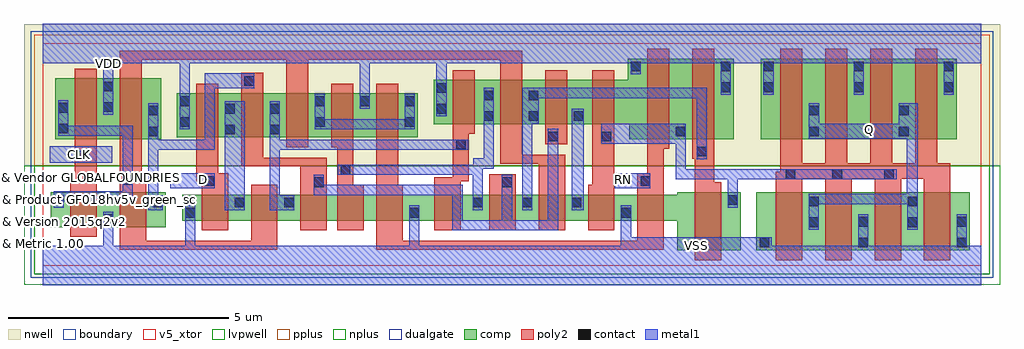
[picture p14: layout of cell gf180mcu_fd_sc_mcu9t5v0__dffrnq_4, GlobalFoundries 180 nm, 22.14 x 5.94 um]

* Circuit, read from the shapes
.subckt gf180mcu_fd_sc_mcu9t5v0__dffrnq_4 CLK D Q RN VDD VSS
XM1 VSS CLK n1 VSUBS nfet_05v0 w=0.79u l=0.6u
XM2 n2 n1 VSS VSUBS nfet_05v0 w=0.79u l=0.6u
XM3 n3 D VSS VSUBS nfet_05v0 w=0.59u l=0.6u
XM4 n4 n1 n3 VSUBS nfet_05v0 w=0.59u l=0.6u
XM5 n5 n2 n4 VSUBS nfet_05v0 w=0.59u l=0.6u
XM6 n6 n7 n5 VSUBS nfet_05v0 w=0.59u l=0.6u
XM7 VSS RN n6 VSUBS nfet_05v0 w=0.59u l=0.6u
XM8 n7 n4 VSS VSUBS nfet_05v0 w=0.59u l=0.6u
XM9 n8 n2 n7 VSUBS nfet_05v0 w=0.59u l=0.6u
XM10 n9 n1 n8 VSUBS nfet_05v0 w=0.59u l=0.6u
XM11 VSS n10 n9 VSUBS nfet_05v0 w=0.59u l=0.6u
XM12 n11 RN VSS VSUBS nfet_05v0 w=0.59u l=0.6u
XM13 n10 n8 n11 VSUBS nfet_05v0 w=1.32u l=0.6u
XM14 Q n10 VSS VSUBS nfet_05v0 w=1.32u l=0.6u m=4
XM15 VDD CLK n1 n12 pfet_05v0 w=1.38u l=0.5u
XM16 n2 n1 VDD n12 pfet_05v0 w=1.38u l=0.5u
XM17 n3 D VDD n12 pfet_05v0 w=1u l=0.5u
XM18 n4 n2 n3 n12 pfet_05v0 w=1u l=0.5u
XM19 n13 n1 n4 n12 pfet_05v0 w=1u l=0.5u
XM20 VDD n7 n13 n12 pfet_05v0 w=1u l=0.5u
XM21 n13 RN VDD n12 pfet_05v0 w=1u l=0.5u
XM22 n7 n4 VDD n12 pfet_05v0 w=1u l=0.5u
XM23 n8 n1 n7 n12 pfet_05v0 w=1u l=0.5u
XM24 n9 n2 n8 n12 pfet_05v0 w=1u l=0.5u
XM25 VDD n10 n9 n12 pfet_05v0 w=1u l=0.5u
XM26 n10 RN VDD n12 pfet_05v0 w=1.83u l=0.5u
XM27 VDD n8 n10 n12 pfet_05v0 w=1.83u l=0.5u
XM28 Q n10 VDD n12 pfet_05v0 w=1.83u l=0.5u m=4
.ends

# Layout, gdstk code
import gdstk
lib = gdstk.Library(unit=1e-6, precision=1e-09)
def R(c, l, rs):  # rectangles x0, y0, x1, y1
    for r in rs: c.add(gdstk.rectangle(r[:2], r[2:], *l))
def A(c, l, x, y, w, h, nx, ny, dx, dy):  # array of equal rectangles
    R(c, l, [(x+i*dx, y+j*dy, x+i*dx+w, y+j*dy+h) for i in range(nx) for j in range(ny)])
def P(c, l, *ps):  # polygons
    for p in ps: c.add(gdstk.Polygon(p, *l))
boundary = (0, 0)
nwell = (21, 0)
comp = (22, 0)
poly2 = (30, 0)
pplus = (31, 0)
nplus = (32, 0)
contact = (33, 0)
metal1 = (34, 0)
dualgate = (55, 0)
v5_xtor = (112, 1)
lvpwell = (204, 0)

gf180mcu_fd_sc_mcu9t5v0_ = lib.new_cell('gf180mcu_fd_sc_mcu9t5v0__dffrnq_4')
R(gf180mcu_fd_sc_mcu9t5v0_, boundary, [(0,0,21.28,5.04)])
R(gf180mcu_fd_sc_mcu9t5v0_, nwell, [(-0.43,2.265,21.71,5.47)])
R(gf180mcu_fd_sc_mcu9t5v0_, comp, [(16.185,0.345,21.025,1.665), (0.18,0.875,2.78,1.665), (0.28,2.865,2.68,4.245), (16.285,2.865,20.725,4.695), (3.04,2.91,8.5,3.91)])
P(gf180mcu_fd_sc_mcu9t5v0_, comp, [(13.305,2.865),(13.305,3.21),(8.86,3.21),(8.86,4.21),(13.265,4.21),(13.265,4.695),(15.665,4.695),(15.665,2.865)],
  [(14.385,0.345),(14.385,1.02),(3.16,1.02),(3.16,1.61),(14.385,1.61),(14.385,1.665),(15.825,1.665),(15.825,0.345)])
R(gf180mcu_fd_sc_mcu9t5v0_, poly2, [(10.125,0.8,10.725,2.07), (11.39,2.75,11.89,4.43)])
P(gf180mcu_fd_sc_mcu9t5v0_, poly2, [(0.62,0.655),(0.62,1.885),(0.72,1.885),(0.72,4.465),(1.22,4.465),(1.22,0.655)],
  [(3.6,0.8),(3.6,1.91),(3.48,1.91),(3.48,4.13),(3.98,4.13),(3.98,2.1),(4.2,2.1),(4.2,0.8)],
  [(5.84,0.8),(5.84,2.25),(4.5,2.25),(4.5,4.37),(5,4.37),(5,2.45),(6.44,2.45),(6.44,0.8)],
  [(6.68,0.8),(6.68,2.69),(6.54,2.69),(6.54,4.13),(7.04,4.13),(7.04,1.83),(7.28,1.83),(7.28,0.8)],
  [(8.88,0.8),(8.88,2),(9.3,2),(9.3,4.43),(9.8,4.43),(9.8,2.99),(9.66,2.99),(9.66,1.91),(9.48,1.91),(9.48,0.8)],
  [(1.74,0.36),(1.74,4.87),(10.87,4.87),(10.87,2.51),(11.845,2.51),(11.845,0.8),(11.245,0.8),(11.245,2.31),(10.37,2.31),(10.37,4.67),(6.02,4.67),(6.02,2.69),(5.52,2.69),(5.52,4.67),(2.24,4.67),(2.24,1.885),(2.34,1.885),(2.34,0.56),(4.72,0.56),(4.72,1.83),(5.32,1.83),(5.32,0.36)],
  [(12.365,0.8),(12.365,1.83),(12.465,1.83),(12.465,4.43),(12.965,4.43),(12.965,0.8)],
  [(7.56,0.36),(7.56,4.13),(8.06,4.13),(8.06,1.83),(8.16,1.83),(8.16,0.56),(13.485,0.56),(13.485,2.1),(13.705,2.1),(13.705,4.915),(14.205,4.915),(14.205,2.645),(14.085,2.645),(14.085,0.36)],
  [(14.785,0.125),(14.785,2.425),(14.725,2.425),(14.725,4.915),(15.225,4.915),(15.225,1.885),(15.385,1.885),(15.385,0.125)],
  [(16.625,0.125),(16.625,2.125),(16.725,2.125),(16.725,4.915),(17.225,4.915),(17.225,2.325),(17.745,2.325),(17.745,4.915),(18.245,4.915),(18.245,2.325),(18.765,2.325),(18.765,4.915),(19.265,4.915),(19.265,2.325),(19.785,2.325),(19.785,4.915),(20.285,4.915),(20.285,2.325),(20.585,2.325),(20.585,0.125),(19.985,0.125),(19.985,1.97),(19.465,1.97),(19.465,0.125),(18.865,0.125),(18.865,1.965),(18.345,1.965),(18.345,0.125),(17.745,0.125),(17.745,1.965),(17.225,1.965),(17.225,0.125)])
R(gf180mcu_fd_sc_mcu9t5v0_, pplus, [(-0.2,2.265,21.48,5.24)])
R(gf180mcu_fd_sc_mcu9t5v0_, nplus, [(-0.2,-0.2,21.48,2.265)])
A(gf180mcu_fd_sc_mcu9t5v0_, contact, 16.255, 0.415, 0.22, 0.22, 3, 1, 2.24, 0)
A(gf180mcu_fd_sc_mcu9t5v0_, contact, 9.755, 1.32, 0.22, 0.22, 3, 1, 1.12, 0)
A(gf180mcu_fd_sc_mcu9t5v0_, contact, 10, 3.28, 0.22, 0.22, 3, 1, 1.02, 0)
A(gf180mcu_fd_sc_mcu9t5v0_, contact, 6.17, 3.62, 0.22, 0.22, 3, 1, 1.02, 0)
A(gf180mcu_fd_sc_mcu9t5v0_, contact, 16.355, 3.935, 0.22, 0.22, 3, 2, 2.04, 0.47)
R(gf180mcu_fd_sc_mcu9t5v0_, contact, [(17.375,0.875,17.595,1.095), (19.615,0.875,19.835,1.095), (18.495,0.885,18.715,1.105), (20.735,0.885,20.955,1.105), (1.37,0.945,1.59,1.165), (3.23,1.09,3.45,1.31), (8.31,1.09,8.53,1.31), (13.115,1.09,13.335,1.31), (2.49,1.32,2.71,1.54), (4.35,1.32,4.57,1.54), (5.47,1.32,5.69,1.54), (17.375,1.345,17.595,1.565), (19.615,1.345,19.835,1.565), (0.25,1.375,0.47,1.595), (15.535,1.375,15.755,1.595), (6.15,1.78,6.37,2), (10.415,1.78,10.635,2), (3.67,1.81,3.89,2.03), (13.555,1.81,13.775,2.03), (1.81,1.835,2.03,2.055), (16.845,1.96,17.065,2.18), (17.91,1.96,18.13,2.18), (19.085,1.96,19.305,2.18), (6.75,2.065,6.97,2.285), (0.79,2.39,1.01,2.61), (14.835,2.475,15.055,2.695), (9.37,2.635,9.59,2.855), (11.46,2.82,11.68,3.04), (12.675,2.82,12.895,3.04), (2.39,2.935,2.61,3.155), (14.355,2.935,14.575,3.155), (17.375,2.935,17.595,3.155), (19.415,2.935,19.635,3.155), (4.13,2.98,4.35,3.2), (5.15,2.98,5.37,3.2), (0.35,3,0.57,3.22), (3.11,3.15,3.33,3.37), (6.17,3.15,6.39,3.37), (8.21,3.15,8.43,3.37), (2.39,3.405,2.61,3.625), (17.375,3.405,17.595,3.625), (19.415,3.405,19.635,3.625), (4.13,3.45,4.35,3.67), (5.15,3.45,5.37,3.67), (8.93,3.45,9.15,3.67), (0.35,3.47,0.57,3.69), (1.37,3.485,1.59,3.705), (3.11,3.62,3.33,3.84), (10,3.75,10.22,3.97), (11.02,3.75,11.24,3.97), (8.93,3.92,9.15,4.14), (15.375,3.935,15.595,4.155), (1.37,3.955,1.59,4.175), (4.57,4.08,4.79,4.3), (13.335,4.405,13.555,4.625), (15.375,4.405,15.595,4.625)])
R(gf180mcu_fd_sc_mcu9t5v0_, metal1, [(4.125,1.26,4.575,3.73), (11.99,1.26,12.265,3.56), (2.89,1.75,3.895,2.09), (12.97,1.75,13.78,2.09), (0.15,2.33,1.57,2.71)])
P(gf180mcu_fd_sc_mcu9t5v0_, metal1, [(0.245,1.315),(0.245,1.685),(1.805,1.685),(1.805,2.94),(0.345,2.94),(0.345,3.75),(0.575,3.75),(0.575,3.17),(2.035,3.17),(2.035,1.455),(0.475,1.455),(0.475,1.315)],
  [(2.385,1.26),(2.385,3.685),(2.615,3.685),(2.615,2.86),(3.665,2.86),(3.665,4.36),(4.795,4.36),(4.795,4.02),(3.895,4.02),(3.895,2.63),(2.615,2.63),(2.615,1.6),(2.715,1.6),(2.715,1.26)],
  [(6.165,3.09),(6.165,3.9),(6.395,3.9),(6.395,3.32),(8.205,3.32),(8.205,3.9),(8.435,3.9),(8.435,3.09)],
  [(5.145,1.26),(5.145,3.73),(5.375,3.73),(5.375,2.86),(9.65,2.86),(9.65,2.63),(5.375,2.63),(5.375,1.6),(5.695,1.6),(5.695,1.26)],
  [(9.75,1.26),(9.75,2.06),(6.69,2.06),(6.69,2.29),(9.765,2.29),(9.765,2.43),(9.995,2.43),(9.995,4.03),(10.225,4.03),(10.225,2.2),(9.98,2.2),(9.98,1.26)],
  [(9.29,0.8),(9.29,1.6),(6.145,1.6),(6.145,2.06),(6.375,2.06),(6.375,1.83),(9.52,1.83),(9.52,1.03),(10.41,1.03),(10.41,2.06),(10.64,2.06),(10.64,1.03),(11.455,1.03),(11.455,3.1),(11.685,3.1),(11.685,0.8)],
  [(10.87,1.26),(10.87,4.03),(15.06,4.03),(15.06,2.415),(14.83,2.415),(14.83,3.8),(11.245,3.8),(11.245,3.22),(11.1,3.22),(11.1,1.26)],
  [(15.53,1.315),(15.53,1.955),(14.35,1.955),(14.35,2.76),(12.67,2.76),(12.67,3.215),(14.58,3.215),(14.58,2.185),(19.365,2.185),(19.365,1.955),(15.76,1.955),(15.76,1.315)],
  [(17.37,0.815),(17.37,1.625),(19.595,1.625),(19.595,2.875),(17.37,2.875),(17.37,3.685),(17.605,3.685),(17.605,3.215),(19.41,3.215),(19.41,3.685),(19.84,3.685),(19.84,0.815),(19.61,0.815),(19.61,1.395),(17.6,1.395),(17.6,0.815)],
  [(0,-0.45),(0,0.45),(1.365,0.45),(1.365,1.225),(1.595,1.225),(1.595,0.45),(3.225,0.45),(3.225,1.37),(3.455,1.37),(3.455,0.45),(8.305,0.45),(8.305,1.37),(8.535,1.37),(8.535,0.45),(13.11,0.45),(13.11,1.37),(13.34,1.37),(13.34,0.64),(16.535,0.64),(16.535,0.45),(18.49,0.45),(18.49,1.165),(18.72,1.165),(18.72,0.45),(20.73,0.45),(20.73,1.165),(20.96,1.165),(20.96,0.45),(21.28,0.45),(21.28,-0.45)],
  [(3.105,3.09),(3.105,4.59),(1.595,4.59),(1.595,3.425),(1.365,3.425),(1.365,4.59),(0,4.59),(0,5.49),(21.28,5.49),(21.28,4.59),(20.66,4.59),(20.66,3.875),(20.43,3.875),(20.43,4.585),(18.62,4.585),(18.62,3.875),(18.39,3.875),(18.39,4.59),(16.58,4.59),(16.58,3.875),(16.345,3.875),(16.345,4.59),(15.605,4.59),(15.605,3.875),(15.37,3.875),(15.37,4.59),(13.56,4.59),(13.56,4.345),(13.33,4.345),(13.33,4.59),(9.155,4.59),(9.155,3.39),(8.925,3.39),(8.925,4.59),(7.415,4.59),(7.415,3.56),(7.185,3.56),(7.185,4.59),(3.335,4.59),(3.335,3.09)])
R(gf180mcu_fd_sc_mcu9t5v0_, dualgate, [(-0.28,-0.28,21.56,5.32)])
R(gf180mcu_fd_sc_mcu9t5v0_, v5_xtor, [(0,0,21.28,5.04)])
R(gf180mcu_fd_sc_mcu9t5v0_, lvpwell, [(-0.43,-0.43,21.71,2.265)])
gf180mcu_fd_sc_mcu9t5v0_.add(gdstk.Label('CLK', (0.84,2.52), layer=34, texttype=10))
gf180mcu_fd_sc_mcu9t5v0_.add(gdstk.Label('D', (3.64,1.96), layer=34, texttype=10))
gf180mcu_fd_sc_mcu9t5v0_.add(gdstk.Label('Q', (18.76,3.08), layer=34, texttype=10))
gf180mcu_fd_sc_mcu9t5v0_.add(gdstk.Label('RN', (13.16,1.96), layer=34, texttype=10))
gf180mcu_fd_sc_mcu9t5v0_.add(gdstk.Label('VDD', (1.48,4.59), layer=34, texttype=10))
gf180mcu_fd_sc_mcu9t5v0_.add(gdstk.Label('VSS', (14.82,0.45), layer=34, texttype=10))
gf180mcu_fd_sc_mcu9t5v0_.add(gdstk.Label('& Vendor GLOBALFOUNDRIES', (0,2), layer=63, texttype=63))
gf180mcu_fd_sc_mcu9t5v0_.add(gdstk.Label('& Product GF018hv5v_green_sc9', (0,1.5), layer=63, texttype=63))
gf180mcu_fd_sc_mcu9t5v0_.add(gdstk.Label('& Version 2015q2v2', (0,1), layer=63, texttype=63))
gf180mcu_fd_sc_mcu9t5v0_.add(gdstk.Label('& Metric 1.00', (0,0.5), layer=63, texttype=63))

lib.write_gds('gf180mcu_fd_sc_mcu9t5v0__dffrnq_4.gds')
